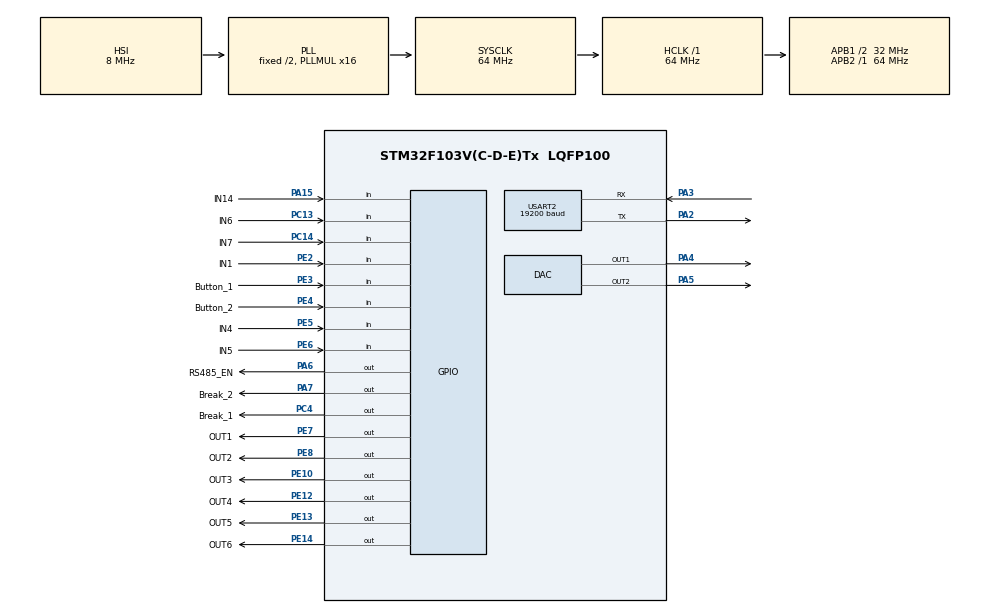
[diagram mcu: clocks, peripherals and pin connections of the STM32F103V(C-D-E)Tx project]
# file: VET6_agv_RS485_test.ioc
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Mcu.Family=STM32F1
Mcu.Name=STM32F103V(C-D-E)Tx
Mcu.Package=LQFP100
NVIC.PriorityGroup=NVIC_PRIORITYGROUP_4
NVIC.USART2_IRQn=true\:0\:0\:false\:false\:true\:true\:true\:true
PA13.Mode=Serial_Wire
PA13.Signal=SYS_JTMS-SWDIO
PA14.Mode=Serial_Wire
PA14.Signal=SYS_JTCK-SWCLK
PA15.GPIO_Label=IN14
PA15.Signal=GPIO_Input
PA2.Mode=Asynchronous
PA2.Signal=USART2_TX
PA3.Mode=Asynchronous
PA3.Signal=USART2_RX
PA4.Signal=COMP_DAC1_group
PA5.Signal=COMP_DAC2_group
PA6.GPIO_Label=RS485_EN
PA6.Signal=GPIO_Output
PA7.GPIO_Label=Break_2
PA7.Signal=GPIO_Output
PC13-TAMPER-RTC.GPIO_Label=IN6
PC13-TAMPER-RTC.Signal=GPIO_Input
PC14-OSC32_IN.GPIO_Label=IN7
PC14-OSC32_IN.Signal=GPIO_Input
PC4.GPIO_Label=Break_1
PC4.Signal=GPIO_Output
PE10.GPIO_Label=OUT3
PE10.Signal=GPIO_Output
PE12.GPIO_Label=OUT4
PE12.Signal=GPIO_Output
PE13.GPIO_Label=OUT5
PE13.Signal=GPIO_Output
PE14.GPIO_Label=OUT6
PE14.Signal=GPIO_Output
PE2.GPIO_Label=IN1
PE2.Signal=GPIO_Input
PE3.GPIO_Label=Button_1
PE3.Signal=GPIO_Input
PE4.GPIO_Label=Button_2
PE4.Signal=GPIO_Input
PE5.GPIO_Label=IN4
PE5.Signal=GPIO_Input
PE6.GPIO_Label=IN5
PE6.Signal=GPIO_Input
PE7.GPIO_Label=OUT1
PE7.Signal=GPIO_Output
PE8.GPIO_Label=OUT2
PE8.Signal=GPIO_Output
ProjectManager.HeapSize=0x200
ProjectManager.StackSize=0x400
ProjectManager.TargetToolchain=STM32CubeIDE
RCC.AHBFreq_Value=64000000
RCC.APB1CLKDivider=RCC_HCLK_DIV2
RCC.APB1Freq_Value=32000000
RCC.APB1TimFreq_Value=64000000
RCC.APB2Freq_Value=64000000
RCC.APB2TimFreq_Value=64000000
RCC.HCLKFreq_Value=64000000
RCC.PLLMUL=RCC_PLL_MUL16
RCC.SYSCLKFreq_VALUE=64000000
RCC.SYSCLKSource=RCC_SYSCLKSOURCE_PLLCLK
RCC.USBFreq_Value=64000000
SH.COMP_DAC1_group.0=DAC_OUT1,DAC_OUT1
SH.COMP_DAC2_group.0=DAC_OUT2,DAC_OUT2
USART2.BaudRate=19200
USART2.Parity=PARITY_EVEN
USART2.VirtualMode=VM_ASYNC
USART2.WordLength=WORDLENGTH_9B
board=custom

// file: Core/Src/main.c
/* USER CODE BEGIN Header */
/**
  ******************************************************************************
  * @file           : main.c
  * @brief          : Main program body
  ******************************************************************************
  * @attention
  *
  * Copyright (c) 2024 STMicroelectronics.
  * All rights reserved.
  *
  * This software is licensed under terms that can be found in the LICENSE file
  * in the root directory of this software component.
  * If no LICENSE file comes with this software, it is provided AS-IS.
  *
  ******************************************************************************
  */
/* USER CODE END Header */
#include "main.h"

/* USER CODE BEGIN Includes */
#include "stdio.h"
#include "string.h"
#include <stdint.h>
#include <stdbool.h>
#include "modbus_crc.h"
/* USER CODE END Includes */

/* USER CODE BEGIN PD */
#define	_RS485_USART									huart2
#define kp	5
#define ki	0
#define kd	0
/* USER CODE END PD */

DAC_HandleTypeDef hdac;

UART_HandleTypeDef huart2;

void SystemClock_Config(void);
static void MX_GPIO_Init(void);
static void MX_USART2_UART_Init(void);
static void MX_DAC_Init(void);

/* USER CODE BEGIN 0 */
uint8_t		TxBuffer[16];
uint8_t		RxBuffer[32];
int16_t 	pre_distance;
int16_t 		distance;
int32_t		 buffer;
int32_t		 timer=0;
uint16_t 	Data[12];
uint32_t 	avgSpeed = 1000, L_speed, R_speed;
int8_t 		state = 0, eff = 1;
int a;
void HAL_UARTEx_RxEventCallback(UART_HandleTypeDef *huart, uint16_t Size)
{
	Data[0]	 	= 	RxBuffer[3]<<8  | RxBuffer[4];		//LCP1
	Data[1] 	= 	RxBuffer[5]<<8  | RxBuffer[6];		//LCP2
	Data[2] 	= 	RxBuffer[7]<<8  | RxBuffer[8];		//LCP3
	Data[3] 	= 	RxBuffer[9]<<8  | RxBuffer[10];		//#LCP
	Data[4] 	= 	RxBuffer[11]<<8 | RxBuffer[12];		//Status
	Data[5] 	= 	RxBuffer[13]<<8 | RxBuffer[14];		//Line width 1
	Data[6] 	= 	RxBuffer[15]<<8 | RxBuffer[16];		//Line width 2
	Data[7] 	= 	RxBuffer[17]<<8 | RxBuffer[18];		//Line width 3
	Data[8] 	= 	RxBuffer[19]<<8 | RxBuffer[20];		//Magnetic field strength of track 1
	Data[9] 	= 	RxBuffer[21]<<8 | RxBuffer[22];		//Magnetic field strength of track 2
	Data[10] 	= 	RxBuffer[23]<<8 | RxBuffer[24];		//Magnetic field strength of track 3
	  if(Data[3] == 0)
	  {
		  HAL_GPIO_WritePin(GPIOE, OUT1_Pin, 0);
		  HAL_GPIO_WritePin(GPIOE, OUT2_Pin, 0);
		  HAL_GPIO_WritePin(GPIOE, OUT3_Pin, 0);
		  HAL_GPIO_WritePin(GPIOE, OUT4_Pin, 0);
	  }
	  else
	  {
		  HAL_GPIO_WritePin(GPIOE, OUT1_Pin, 1);
		  HAL_GPIO_WritePin(GPIOE, OUT2_Pin, 0);
		  HAL_GPIO_WritePin(GPIOE, OUT3_Pin, 0);
		  HAL_GPIO_WritePin(GPIOE, OUT4_Pin, 1);
	  }
	distance = Data[1];
	buffer = kp*distance + ki*(distance + pre_distance)*0.01/2 + kd*(distance-pre_distance)/0.01;
	L_speed = (avgSpeed - buffer) / eff;
	R_speed = (avgSpeed + buffer) / eff;
	if(	L_speed < 0)	L_speed = 0;
	if( R_speed < 0)	R_speed = 0;
	memset (RxBuffer, 0, 32*sizeof(RxBuffer[0]));
	memset (Data, 0, 12*sizeof(Data[0]));
	HAL_UARTEx_ReceiveToIdle_IT(&_RS485_USART, RxBuffer,32);
}

void sendData(uint8_t *data)
{
	HAL_GPIO_WritePin(RS485_EN_GPIO_Port, RS485_EN_Pin, GPIO_PIN_SET);
	HAL_UART_Transmit(&_RS485_USART, TxBuffer, 8, 500);
	HAL_GPIO_WritePin(RS485_EN_GPIO_Port, RS485_EN_Pin, GPIO_PIN_RESET);
}
/* USER CODE END 0 */

int main(void)
{

  /* MCU Configuration--------------------------------------------------------*/

  /* Reset of all peripherals, Initializes the Flash interface and the Systick. */
  HAL_Init();

  /* Configure the system clock */
  SystemClock_Config();

  /* Initialize all configured peripherals */
  MX_GPIO_Init();
  MX_USART2_UART_Init();
  MX_DAC_Init();
  /* USER CODE BEGIN 2 */
  HAL_UARTEx_ReceiveToIdle_IT(&_RS485_USART, RxBuffer,32);
  HAL_DAC_Start(&hdac, DAC_CHANNEL_1);
  HAL_DAC_Start(&hdac, DAC_CHANNEL_2);

//  TxBuffer[0] = 0x0a;
//  TxBuffer[1] = 0x03;
//  TxBuffer[2] = 0x0f;		//Reading offset line zero point
//  TxBuffer[3] = 0xa1;
//  TxBuffer[4] = 0x00;
//  TxBuffer[5] = 0x01;

//  TxBuffer[0] = 0x0a;
//  TxBuffer[1] = 0x04;
//  TxBuffer[2] = 0x00;
//  TxBuffer[3] = 0xc0;   // Reading Line guidance
//  TxBuffer[4] = 0x00;
//  TxBuffer[5] = 0x0b;
//
//  uint16_t crc = crc16(TxBuffer, 6);
//  TxBuffer[6] = crc&0xFF;   // CRC LOW
//  TxBuffer[7] = (crc>>8)&0xFF;  // CRC HIGH
////
//  sendData(TxBuffer);

  HAL_DAC_SetValue(&hdac, DAC_CHANNEL_1, DAC_ALIGN_12B_R, 0);
  HAL_DAC_SetValue(&hdac, DAC_CHANNEL_2, DAC_ALIGN_12B_R, 0);
  /* USER CODE END 2 */

  /* Infinite loop */
  /* USER CODE BEGIN WHILE */
  while (1)
  {
	  if(state == 0)
	  {
		  TxBuffer[0] = 0x0a;
		  TxBuffer[1] = 0x04;
		  TxBuffer[2] = 0x00;
		  TxBuffer[3] = 0xc0;   // Reading Line guidance
		  TxBuffer[4] = 0x00;
		  TxBuffer[5] = 0x0b;

		  uint16_t crc = crc16(TxBuffer, 6);
		  TxBuffer[6] = crc&0xFF;   // CRC LOW
		  TxBuffer[7] = (crc>>8)&0xFF;  // CRC HIGH

		  sendData(TxBuffer);

		  HAL_Delay(10);

		  memset(TxBuffer, 0, 16*sizeof(TxBuffer[0]));
		  HAL_DAC_SetValue(&hdac, DAC_CHANNEL_1, DAC_ALIGN_12B_R, 0); //R_speed		//Line test
		  HAL_DAC_SetValue(&hdac, DAC_CHANNEL_2, DAC_ALIGN_12B_R, 0); //L_speed
	  }

	  else
	  {
		  if(HAL_GPIO_ReadPin(GPIOE, Button_1_Pin) == 0)
		  {
			  if(HAL_GPIO_ReadPin(GPIOE, IN1_Pin) == 0 )
			  {
				  HAL_GPIO_WritePin(GPIOE, OUT1_Pin, 1);
				  HAL_GPIO_WritePin(GPIOE, OUT2_Pin, 0);
			  }
			  else
			  {
				  HAL_GPIO_WritePin(GPIOE, OUT1_Pin, 0);
				  HAL_GPIO_WritePin(GPIOE, OUT2_Pin, 1);
			  }
			  HAL_DAC_SetValue(&hdac, DAC_CHANNEL_1, DAC_ALIGN_12B_R, avgSpeed);
			  HAL_DAC_SetValue(&hdac, DAC_CHANNEL_2, DAC_ALIGN_12B_R, avgSpeed);
		  }
		  else
		  {
			  HAL_GPIO_WritePin(GPIOE, OUT1_Pin, 0);
			  HAL_GPIO_WritePin(GPIOE, OUT2_Pin, 0);
//			  avgSpeed = 0;
		  }
		  if(HAL_GPIO_ReadPin(GPIOE, Button_2_Pin) == 0)			//Button test
		  {
			  if(HAL_GPIO_ReadPin(GPIOE, IN1_Pin) == 0 )
			  {
				  HAL_GPIO_WritePin(GPIOE, OUT3_Pin, 0);
				  HAL_GPIO_WritePin(GPIOE, OUT4_Pin, 1);
			  }
			  else
			  {
				  HAL_GPIO_WritePin(GPIOE, OUT3_Pin, 1);
				  HAL_GPIO_WritePin(GPIOE, OUT4_Pin, 0);
			  }
			  HAL_DAC_SetValue(&hdac, DAC_CHANNEL_1, DAC_ALIGN_12B_R, avgSpeed);
			  HAL_DAC_SetValue(&hdac, DAC_CHANNEL_2, DAC_ALIGN_12B_R, avgSpeed);
		  }
		  else
		  {
					HAL_GPIO_WritePin(GPIOE, OUT3_Pin, 0);
					HAL_GPIO_WritePin(GPIOE, OUT4_Pin, 0);
//					avgSpeed = 0;
		  }
	  }
//	  if(HAL_GetTick() - timer > 10 && avgSpeed < 1000)
//	  {
//		  avgSpeed += 100;
//		  timer = HAL_GetTick();
//	  }
	  if( HAL_GPIO_ReadPin(GPIOA, IN14_Pin) == 0)
	  {
		  eff = 2;
	  }
	  else
	  {
		  eff = 1;
	  }
	  while(HAL_GPIO_ReadPin(GPIOE, IN4_Pin) == 1 )
	  {
		  HAL_GPIO_WritePin(GPIOE, OUT1_Pin, 0);
		  HAL_GPIO_WritePin(GPIOE, OUT2_Pin, 0);
		  HAL_GPIO_WritePin(GPIOE, OUT3_Pin, 0);
		  HAL_GPIO_WritePin(GPIOE, OUT4_Pin, 0);
//		  avgSpeed = 0;
	  }
    /* USER CODE END WHILE */

  }
}

void SystemClock_Config(void)
{
  RCC_OscInitTypeDef RCC_OscInitStruct = {0};
  RCC_ClkInitTypeDef RCC_ClkInitStruct = {0};

  /** Initializes the RCC Oscillators according to the specified parameters
  * in the RCC_OscInitTypeDef structure.
  */
  RCC_OscInitStruct.OscillatorType = RCC_OSCILLATORTYPE_HSI;
  RCC_OscInitStruct.HSIState = RCC_HSI_ON;
  RCC_OscInitStruct.HSICalibrationValue = RCC_HSICALIBRATION_DEFAULT;
  RCC_OscInitStruct.PLL.PLLState = RCC_PLL_ON;
  RCC_OscInitStruct.PLL.PLLSource = RCC_PLLSOURCE_HSI_DIV2;
  RCC_OscInitStruct.PLL.PLLMUL = RCC_PLL_MUL16;
  if (HAL_RCC_OscConfig(&RCC_OscInitStruct) != HAL_OK)
  {
    Error_Handler();
  }

  /** Initializes the CPU, AHB and APB buses clocks
  */
  RCC_ClkInitStruct.ClockType = RCC_CLOCKTYPE_HCLK|RCC_CLOCKTYPE_SYSCLK
                              |RCC_CLOCKTYPE_PCLK1|RCC_CLOCKTYPE_PCLK2;
  RCC_ClkInitStruct.SYSCLKSource = RCC_SYSCLKSOURCE_PLLCLK;
  RCC_ClkInitStruct.AHBCLKDivider = RCC_SYSCLK_DIV1;
  RCC_ClkInitStruct.APB1CLKDivider = RCC_HCLK_DIV2;
  RCC_ClkInitStruct.APB2CLKDivider = RCC_HCLK_DIV1;

  if (HAL_RCC_ClockConfig(&RCC_ClkInitStruct, FLASH_LATENCY_2) != HAL_OK)
  {
    Error_Handler();
  }
}

static void MX_DAC_Init(void)
{

  DAC_ChannelConfTypeDef sConfig = {0};

  /** DAC Initialization
  */
  hdac.Instance = DAC;
  if (HAL_DAC_Init(&hdac) != HAL_OK)
  {
    Error_Handler();
  }

  /** DAC channel OUT1 config
  */
  sConfig.DAC_Trigger = DAC_TRIGGER_NONE;
  sConfig.DAC_OutputBuffer = DAC_OUTPUTBUFFER_ENABLE;
  if (HAL_DAC_ConfigChannel(&hdac, &sConfig, DAC_CHANNEL_1) != HAL_OK)
  {
    Error_Handler();
  }

  /** DAC channel OUT2 config
  */
  if (HAL_DAC_ConfigChannel(&hdac, &sConfig, DAC_CHANNEL_2) != HAL_OK)
  {
    Error_Handler();
  }

}

static void MX_USART2_UART_Init(void)
{

  huart2.Instance = USART2;
  huart2.Init.BaudRate = 19200;
  huart2.Init.WordLength = UART_WORDLENGTH_9B;
  huart2.Init.StopBits = UART_STOPBITS_1;
  huart2.Init.Parity = UART_PARITY_EVEN;
  huart2.Init.Mode = UART_MODE_TX_RX;
  huart2.Init.HwFlowCtl = UART_HWCONTROL_NONE;
  huart2.Init.OverSampling = UART_OVERSAMPLING_16;
  if (HAL_UART_Init(&huart2) != HAL_OK)
  {
    Error_Handler();
  }

}

static void MX_GPIO_Init(void)
{
  GPIO_InitTypeDef GPIO_InitStruct = {0};

  /* GPIO Ports Clock Enable */
  __HAL_RCC_GPIOE_CLK_ENABLE();
  __HAL_RCC_GPIOC_CLK_ENABLE();
  __HAL_RCC_GPIOA_CLK_ENABLE();

  /*Configure GPIO pin Output Level */
  HAL_GPIO_WritePin(GPIOA, RS485_EN_Pin|Break_2_Pin, GPIO_PIN_RESET);

  /*Configure GPIO pin Output Level */
  HAL_GPIO_WritePin(Break_1_GPIO_Port, Break_1_Pin, GPIO_PIN_RESET);

  /*Configure GPIO pin Output Level */
  HAL_GPIO_WritePin(GPIOE, OUT1_Pin|OUT2_Pin|OUT3_Pin|OUT4_Pin
                          |OUT5_Pin|OUT6_Pin, GPIO_PIN_RESET);

  /*Configure GPIO pins : IN1_Pin Button_1_Pin Button_2_Pin IN4_Pin
                           IN5_Pin */
  GPIO_InitStruct.Pin = IN1_Pin|Button_1_Pin|Button_2_Pin|IN4_Pin
                          |IN5_Pin;
  GPIO_InitStruct.Mode = GPIO_MODE_INPUT;
  GPIO_InitStruct.Pull = GPIO_NOPULL;
  HAL_GPIO_Init(GPIOE, &GPIO_InitStruct);

  /*Configure GPIO pins : IN6_Pin IN7_Pin */
  GPIO_InitStruct.Pin = IN6_Pin|IN7_Pin;
  GPIO_InitStruct.Mode = GPIO_MODE_INPUT;
  GPIO_InitStruct.Pull = GPIO_NOPULL;
  HAL_GPIO_Init(GPIOC, &GPIO_InitStruct);

  /*Configure GPIO pins : RS485_EN_Pin Break_2_Pin */
  GPIO_InitStruct.Pin = RS485_EN_Pin|Break_2_Pin;
  GPIO_InitStruct.Mode = GPIO_MODE_OUTPUT_PP;
  GPIO_InitStruct.Pull = GPIO_NOPULL;
  GPIO_InitStruct.Speed = GPIO_SPEED_FREQ_LOW;
  HAL_GPIO_Init(GPIOA, &GPIO_InitStruct);

  /*Configure GPIO pin : Break_1_Pin */
  GPIO_InitStruct.Pin = Break_1_Pin;
  GPIO_InitStruct.Mode = GPIO_MODE_OUTPUT_PP;
  GPIO_InitStruct.Pull = GPIO_NOPULL;
  GPIO_InitStruct.Speed = GPIO_SPEED_FREQ_LOW;
  HAL_GPIO_Init(Break_1_GPIO_Port, &GPIO_InitStruct);

  /*Configure GPIO pins : OUT1_Pin OUT2_Pin OUT3_Pin OUT4_Pin
                           OUT5_Pin OUT6_Pin */
  GPIO_InitStruct.Pin = OUT1_Pin|OUT2_Pin|OUT3_Pin|OUT4_Pin
                          |OUT5_Pin|OUT6_Pin;
  GPIO_InitStruct.Mode = GPIO_MODE_OUTPUT_PP;
  GPIO_InitStruct.Pull = GPIO_NOPULL;
  GPIO_InitStruct.Speed = GPIO_SPEED_FREQ_LOW;
  HAL_GPIO_Init(GPIOE, &GPIO_InitStruct);

  /*Configure GPIO pin : IN14_Pin */
  GPIO_InitStruct.Pin = IN14_Pin;
  GPIO_InitStruct.Mode = GPIO_MODE_INPUT;
  GPIO_InitStruct.Pull = GPIO_NOPULL;
  HAL_GPIO_Init(IN14_GPIO_Port, &GPIO_InitStruct);

}

void Error_Handler(void)
{
  __disable_irq();
  while (1)
  {
  }
}
